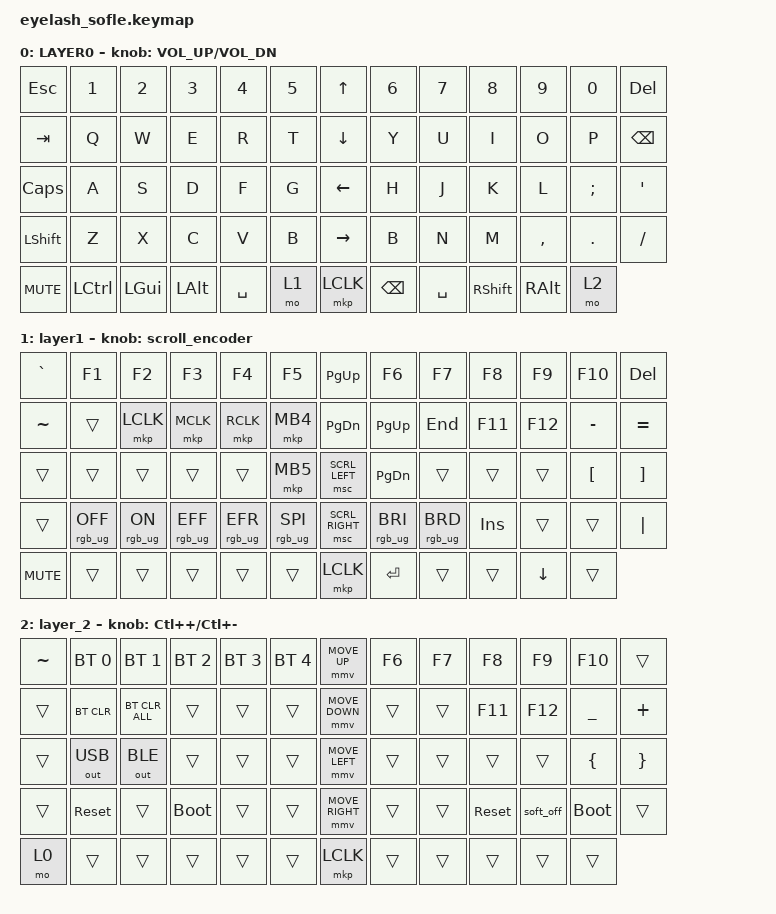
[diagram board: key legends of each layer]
#define ZMK_POINTING_DEFAULT_MOVE_VAL 1200  // 600
#define ZMK_POINTING_DEFAULT_SCRL_VAL 35    // 10

#include <input/processors.dtsi>
#include <zephyr/dt-bindings/input/input-event-codes.h>
#include <behaviors.dtsi>
#include <dt-bindings/zmk/bt.h>
#include <dt-bindings/zmk/keys.h>
#include <dt-bindings/zmk/outputs.h>
#include <dt-bindings/zmk/pointing.h>
#include <dt-bindings/zmk/rgb.h>

/ {
    zip_scroll_scaler: zip_scroll_scaler {
        compatible = "zmk,input-processor-scaler";
        #input-processor-cells = <2>;
        type = <INPUT_EV_REL>;
        codes = <INPUT_REL_WHEEL INPUT_REL_HWHEEL>;
        track-remainders;
    };
};

&mmv_input_listener { input-processors = <&zip_xy_scaler 2 1>; };

&msc_input_listener { input-processors = <&zip_scroll_scaler 2 1>; };

&msc {
    acceleration-exponent = <0>;      // 0
    time-to-max-speed-ms = <0>;       // 300
    delay-ms = <0>;                   // 0
};

&mmv {
    time-to-max-speed-ms = <400>;
    acceleration-exponent = <1>;
};

/ {
    scroll_encoder: scroll_encoder {
        compatible = "zmk,behavior-sensor-rotate";
        #sensor-binding-cells = <0>;
        bindings = <&msc SCRL_DOWN>, <&msc SCRL_UP>;

        tap-ms = <30>;
    };

    behaviors {
    };

    keymap {
        compatible = "zmk,keymap";

        layer0 {
            bindings = <
&kp ESC     &kp N1     &kp N2        &kp N3        &kp N4     &kp N5    &kp UP_ARROW     &kp N6         &kp N7     &kp N8           &kp N9         &kp N0      &kp DELETE
&kp TAB     &kp Q      &kp W         &kp E         &kp R      &kp T     &kp DOWN_ARROW   &kp Y          &kp U      &kp I            &kp O          &kp P       &kp BACKSPACE
&kp CAPS    &kp A      &kp S         &kp D         &kp F      &kp G     &kp LEFT_ARROW   &kp H          &kp J      &kp K            &kp L          &kp SEMI    &kp APOS
&kp LSHFT   &kp Z      &kp X         &kp C         &kp V      &kp B     &kp RIGHT_ARROW  &kp B          &kp N      &kp M            &kp COMMA      &kp PERIOD  &kp SLASH
&kp C_MUTE  &kp LCTRL  &kp LEFT_GUI  &kp LEFT_ALT  &kp SPACE  &mo 1     &mkp LCLK        &kp BACKSPACE  &kp SPACE  &kp RIGHT_SHIFT  &kp RIGHT_ALT  &mo 2
            >;

            sensor-bindings = <&inc_dec_kp C_VOLUME_UP C_VOL_DN>;
            display-name = "LAYER0";
        };

        layer_1 {
            bindings = <
&kp GRAVE   &kp F1           &kp F2          &kp F3           &kp F4           &kp F5             &kp PAGE_UP      &kp F6           &kp F7           &kp F8      &kp F9          &kp F10           &kp DELETE
&kp TILDE   &trans           &mkp LCLK       &mkp MCLK        &mkp RCLK        &mkp MB4           &kp PAGE_DOWN    &kp PG_UP        &kp END          &kp F11     &kp F12         &kp MINUS         &kp EQUAL
&trans      &trans           &trans          &trans           &trans           &mkp MB5           &msc SCRL_LEFT   &kp PG_DN        &trans           &trans      &trans          &kp LEFT_BRACKET  &kp RIGHT_BRACKET
&trans      &rgb_ug RGB_OFF  &rgb_ug RGB_ON  &rgb_ug RGB_EFF  &rgb_ug RGB_EFR  &rgb_ug RGB_SPI    &msc SCRL_RIGHT  &rgb_ug RGB_BRI  &rgb_ug RGB_BRD  &kp INSERT  &trans          &trans            &kp PIPE
&kp C_MUTE  &trans           &trans          &trans           &trans           &trans             &mkp LCLK        &kp ENTER        &trans           &trans      &kp DOWN_ARROW  &trans
            >;

            display-name = "layer1";
            sensor-bindings = <&scroll_encoder>;
        };

        layer_2 {
            bindings = <
&kp TILDE  &bt BT_SEL 0  &bt BT_SEL 1    &bt BT_SEL 2  &bt BT_SEL 3  &bt BT_SEL 4    &mmv MOVE_UP     &kp F6  &kp F7  &kp F8      &kp F9     &kp F10      &trans
&trans     &bt BT_CLR    &bt BT_CLR_ALL  &trans        &trans        &trans          &mmv MOVE_DOWN   &trans  &trans  &kp F11     &kp F12    &kp UNDER    &kp PLUS
&trans     &out OUT_USB  &out OUT_BLE    &trans        &trans        &trans          &mmv MOVE_LEFT   &trans  &trans  &trans      &trans     &kp LBRC     &kp RBRC
&trans     &sys_reset    &trans          &bootloader   &trans        &trans          &mmv MOVE_RIGHT  &trans  &trans  &sys_reset  &soft_off  &bootloader  &trans
&mo 0      &trans        &trans          &trans        &trans        &trans          &mkp LCLK        &trans  &trans  &trans      &trans     &trans
            >;

            sensor-bindings = <&inc_dec_kp LC(PLUS) LC(MINUS)>;
        };
    };
};
